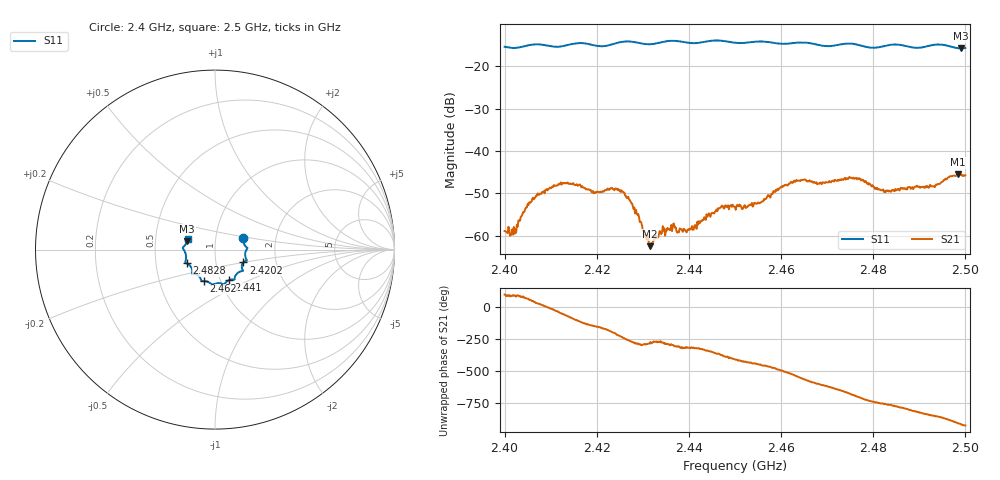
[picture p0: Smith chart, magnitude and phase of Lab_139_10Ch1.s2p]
# Hz S RI R 50
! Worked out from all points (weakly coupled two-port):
!   601 points, 2.4 GHz to 2.5 GHz, reference 50 ohm
!   highest |S21| = -45.47 dB at 2.4983 GHz (marker M1); lowest = -62.5 dB at 2.4315 GHz (marker M2)
!   lowest |S11| = -15.8 dB at 2.499 GHz (marker M3), VSWR 1.39, Z = 36.4 + j3.53 ohm
!   |S11| at or under -10 dB: start of sweep to end of sweep
!   S12 and S22 are empty: the file has one direction only
!   S11 on the Smith chart (normalised r, x): 2.4 GHz: 1.36, +0.17; 2.4202 GHz: 1.36, -0.20; 2.441 GHz: 1.10, -0.39; 2.462 GHz: 0.83, -0.30; 2.4828 GHz: 0.72, -0.11; 2.5 GHz: 0.73, +0.09
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2.4e9  0.1576 0.0623  -7.28e-05 0.00113  0 0  0 0
2.402e9  0.1594 0.0387  0.000137 0.00126  0 0  0 0
2.407333e9  0.1806 0.00865  0.0028 0.00121  0 0  0 0
2.4125e9  0.1683 -0.0345  0.00235 -0.00339  0 0  0 0
2.416667e9  0.1773 -0.0604  -0.00192 -0.00318  0 0  0 0
2.420167e9  0.1579 -0.0714  -0.00302 -0.00129  0 0  0 0
2.425833e9  0.156 -0.117  -0.00138 0.00292  0 0  0 0
2.4315e9  0.1219 -0.1346  0.000207 0.000723  0 0  0 0
2.433333e9  0.1115 -0.151  2.4e-05 0.000973  0 0  0 0
2.441e9  0.0779 -0.1699  0.000864 0.000796  0 0  0 0
2.446833e9  0.0482 -0.1944  0.0021 -0.00046  0 0  0 0
2.45e9  0.028 -0.1871  0.00144 -0.00164  0 0  0 0
2.455667e9  -0.0146 -0.1952  -0.000118 -0.00248  0 0  0 0
2.462e9  -0.061 -0.1754  -0.00391 -0.00155  0 0  0 0
2.466667e9  -0.0784 -0.1679  -0.003 0.00321  0 0  0 0
2.476667e9  -0.1267 -0.1266  0.00445 0.00161  0 0  0 0
2.482833e9  -0.1576 -0.0767  0.0027 -0.00209  0 0  0 0
2.483333e9  -0.1604 -0.0753  0.00251 -0.00217  0 0  0 0
2.493e9  -0.1782 0.0046  -0.00232 -0.00304  0 0  0 0
2.498333e9  -0.1587 0.0382  -0.00531 0.000395  0 0  0 0
2.499e9  -0.1551 0.0472  -0.00512 0.00106  0 0  0 0
2.5e9  -0.1521 0.0615  -0.00479 0.00189  0 0  0 0
